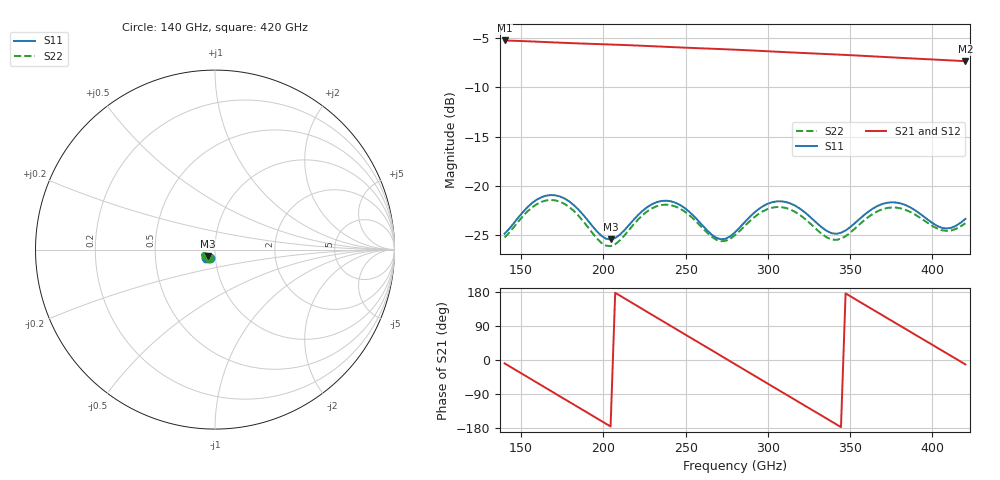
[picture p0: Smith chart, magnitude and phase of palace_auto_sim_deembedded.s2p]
! Created with skrf 1.11.0 (http://scikit-rf.org).
# GHz S DB R 50.0
!freq dBS11 angS11 dBS21 angS21 dBS12 angS12 dBS22 angS22
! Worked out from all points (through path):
!   101 points, 140 GHz to 420 GHz, reference 50 ohm
!   highest |S21| = -5.23 dB at 140 GHz (marker M1); lowest = -7.3 dB at 420 GHz (marker M2)
!   group delay of S21, straight-line fit = 7.17 ps
!   lowest |S11| = -25.5 dB at 204.4 GHz (marker M3), VSWR 1.11, Z = 46.1 - j3.31 ohm
!   |S11| at or under -10 dB: start of sweep to end of sweep
!   |S22| runs from -26.1 to -21.4 dB; largest |S21 - S12| = 6e-14
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140  -24.86 -121.4  -5.23 -8.9  -5.23 -8.9  -25.25 -124.7
151.2  -22.65 -117.4  -5.30 -37.9  -5.30 -37.9  -23.07 -121.3
165.2  -21.00 -129.9  -5.39 -74.1  -5.39 -74.1  -21.49 -134.4
176.4  -21.29 -142.7  -5.47 -103.1  -5.47 -103.1  -21.84 -147.7
187.6  -22.92 -150.9  -5.54 -132.0  -5.54 -132.0  -23.56 -156.1
204.4  -25.45 -137.8  -5.64 -175.4  -5.64 -175.4  -26.13 -142.0
218.4  -23.45 -126.1  -5.73 148.3  -5.73 148.3  -23.92 -130.6
235.2  -21.54 -137.4  -5.85 104.8  -5.85 104.8  -21.95 -143.0
254.8  -23.05 -152.9  -6.00 54.2  -6.00 54.2  -23.37 -159.5
268.8  -25.30 -145.5  -6.09 18.1  -6.09 18.1  -25.50 -153.6
280  -24.73 -131.1  -6.17 -10.9  -6.17 -10.9  -25.02 -140.9
294  -22.41 -130.4  -6.28 -47.1  -6.28 -47.1  -22.90 -141.0
305.2  -21.58 -139.1  -6.37 -76.0  -6.37 -76.0  -22.16 -149.8
316.4  -22.01 -148.3  -6.46 -104.9  -6.46 -104.9  -22.63 -159.2
327.6  -23.46 -151.9  -6.55 -133.7  -6.55 -133.7  -24.13 -162.8
338.8  -24.82 -144.2  -6.63 -162.6  -6.63 -162.6  -25.45 -154.9
350  -24.20 -132.6  -6.72 168.5  -6.72 168.5  -24.77 -143.7
364  -22.29 -132.5  -6.85 132.4  -6.85 132.4  -22.83 -144.4
375.2  -21.68 -139.8  -6.95 103.6  -6.95 103.6  -22.20 -152.3
386.4  -22.18 -147.0  -7.05 74.8  -7.05 74.8  -22.64 -159.9
400.4  -23.83 -146.6  -7.16 38.8  -7.16 38.8  -24.12 -160.8
420  -23.36 -129.6  -7.34 -11.6  -7.34 -11.6  -23.81 -148.0
